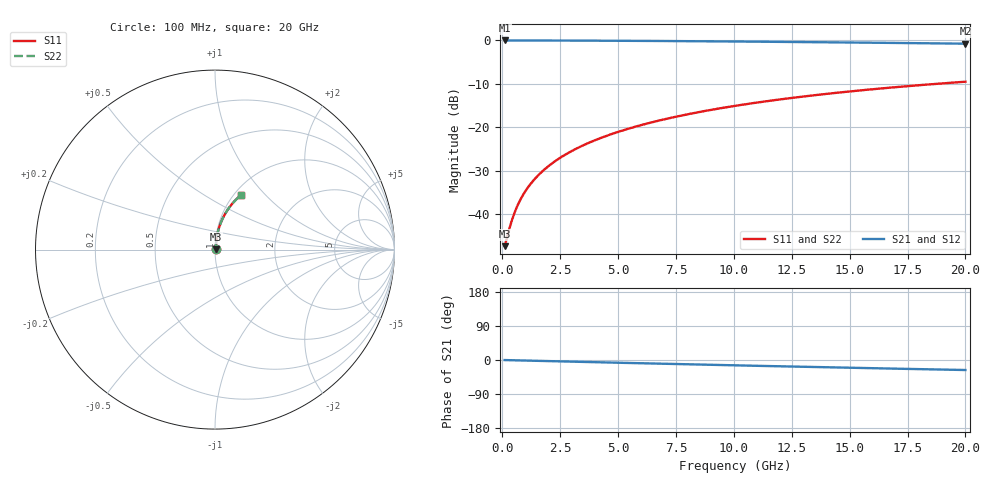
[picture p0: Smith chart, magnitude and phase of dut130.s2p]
! Touchstone file exported from HFSS 2024.1.0
!  File:  C:/UserFiles/LocalFiles/RDL_TSV_Batchsim/temp_RDL_bottom_130_1778696457.aedt
!  Generated:  02:23:39 AM May 14, 2026
!  Design:  RDL_bottom
!  Project:  temp_RDL_bottom_130_1778696457
!  Setup:  Setup1
!  Solution:  Sweep
! Variables:
!  dtsv = 10.80580581um
!  hbump = 3um
!  htsv = 70.63um
!  ldown = 311.89um
!  lrdl = 100um
!  p = 40
!  p1 = 40.92um
!  rhole = 1um
!  t = 450um
!  tdown = 2.86um
!  trdl = 3.915915916um
!  wdown = 10.28um
!  wrdl = 20um
# GHz S MA R 50.000000
! Terminal data exported
! Port[1] = RDL1_T1
! Port[2] = RDL1_T2
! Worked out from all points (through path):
!   200 points, 100 MHz to 20 GHz, reference 50 ohm
!   highest |S21| = -0.03 dB at 100 MHz (marker M1); lowest = -0.8 dB at 20 GHz (marker M2)
!   group delay of S21, straight-line fit = 3.67 ps
!   lowest |S11| = -47.4 dB at 100 MHz (marker M3), VSWR 1.01, Z = 50.4 + j0.184 ohm
!   |S11| at or under -10 dB: start of sweep to 18.78 GHz
!   |S22| runs from -47.4 to -9.5 dB; largest |S21 - S12| = 2.6e-15
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0.1  0.004289 25.2  0.9961 -0.1  0.9961 -0.1  0.004289 25.2
! Gamma 0 0 0 0
! Port Impedance 50 0 50 0
0.3  0.006731 54.2  0.996 -0.4  0.996 -0.4  0.006731 54.2
0.4  0.008285 61.2  0.996 -0.6  0.996 -0.6  0.008285 61.2
0.5  0.009921 65.9  0.9959 -0.7  0.9959 -0.7  0.00992 65.9
0.6  0.0116 69.1  0.9958 -0.9  0.9958 -0.9  0.0116 69.1
0.7  0.0133 71.5  0.9957 -1.0  0.9957 -1.0  0.0133 71.5
0.9  0.01674 74.7  0.9955 -1.3  0.9955 -1.3  0.01674 74.7
1.2  0.02193 77.5  0.9953 -1.8  0.9953 -1.8  0.02193 77.5
1.4  0.0254 78.7  0.9951 -2.0  0.9951 -2.0  0.02539 78.7
1.7  0.03061 79.9  0.9947 -2.5  0.9947 -2.5  0.03061 79.9
2.2  0.03932 81.0  0.9941 -3.2  0.9941 -3.2  0.03932 81.0
2.8  0.04981 81.6  0.9931 -4.1  0.9931 -4.1  0.04981 81.6
3.5  0.06207 81.8  0.9918 -5.1  0.9918 -5.1  0.06207 81.8
4.2  0.07436 81.6  0.9902 -6.1  0.9902 -6.1  0.07436 81.6
5  0.08841 81.2  0.9881 -7.2  0.9881 -7.2  0.08841 81.2
5.9  0.1042 80.5  0.9854 -8.5  0.9854 -8.5  0.1042 80.5
6.8  0.12 79.7  0.9823 -9.7  0.9823 -9.7  0.12 79.7
8.3  0.1461 78.2  0.9766 -11.8  0.9766 -11.8  0.1461 78.2
10.1  0.1771 76.3  0.9688 -14.2  0.9688 -14.2  0.1771 76.3
13.4  0.2323 72.4  0.9525 -18.4  0.9525 -18.4  0.2323 72.4
16.7  0.2848 68.5  0.9343 -22.5  0.9343 -22.5  0.2847 68.5
20  0.334 64.7  0.9147 -26.4  0.9147 -26.4  0.334 64.7
